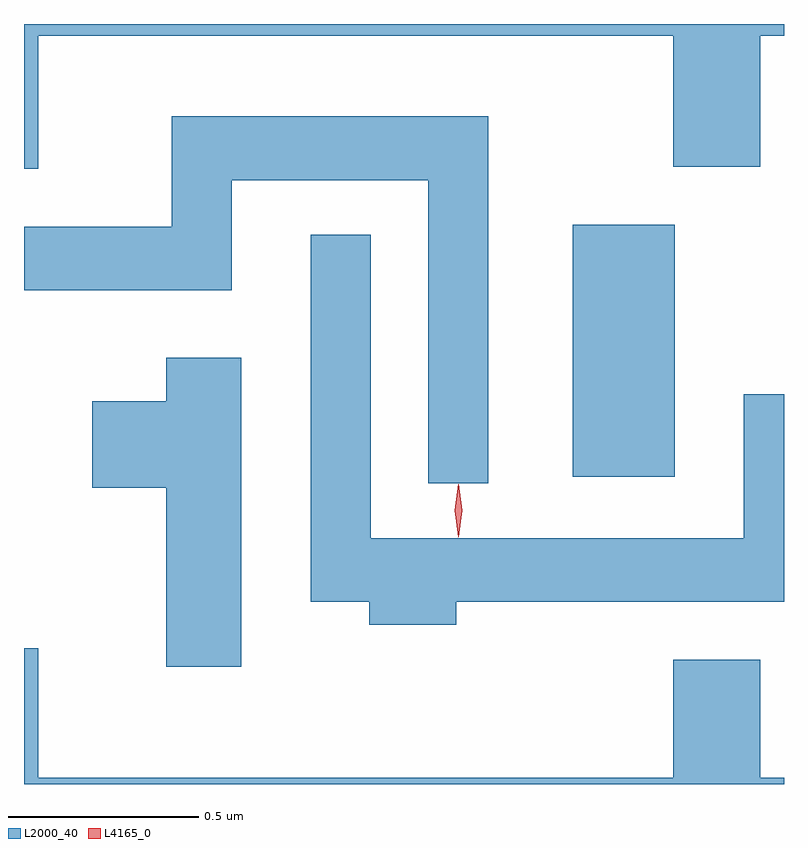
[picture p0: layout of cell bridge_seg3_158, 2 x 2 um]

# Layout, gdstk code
import gdstk
lib = gdstk.Library(unit=1e-6, precision=1e-09)
def R(c, l, rs):  # rectangles x0, y0, x1, y1
    for r in rs: c.add(gdstk.rectangle(r[:2], r[2:], *l))
def P(c, l, *ps):  # polygons
    for p in ps: c.add(gdstk.Polygon(p, *l))
L2000_40 = (2000, 40)
L4165_0 = (4165, 0)

bridge_seg3_158 = lib.new_cell('bridge_seg3_158')
R(bridge_seg3_158, L2000_40, [(877.926,1189.236,878.194,1189.899)])
P(bridge_seg3_158, L2000_40, [(876.482,1190.046),(876.519,1190.046),(876.519,1190.396),(878.191,1190.396),(878.191,1190.051),(878.419,1190.051),(878.419,1190.396),(878.482,1190.396),(878.482,1190.427),(876.482,1190.427)],
  [(877.704,1190.184),(876.871,1190.184),(876.871,1189.894),(876.482,1189.894),(876.482,1189.726),(877.029,1189.726),(877.029,1190.016),(877.546,1190.016),(877.546,1189.218),(877.704,1189.218)],
  [(877.619,1188.906),(878.482,1188.906),(878.482,1189.453),(878.376,1189.453),(878.376,1189.074),(877.394,1189.074),(877.394,1189.873),(877.236,1189.873),(877.236,1188.906),(877.391,1188.906),(877.391,1188.846),(877.619,1188.846)],
  [(877.054,1189.549),(876.856,1189.549),(876.856,1189.434),(876.661,1189.434),(876.661,1189.206),(876.856,1189.206),(876.856,1188.736),(877.054,1188.736)],
  [(878.482,1188.444),(878.419,1188.444),(878.419,1188.754),(878.191,1188.754),(878.191,1188.444),(876.519,1188.444),(876.519,1188.784),(876.482,1188.784),(876.482,1188.427),(878.482,1188.427)])
P(bridge_seg3_158, L4165_0, [(877.625,1189.077),(877.625,1189.078),(877.615,1189.147),(877.625,1189.216),(877.625,1189.216),(877.626,1189.216),(877.635,1189.147),(877.626,1189.078)],
  [(877.625,1189.079),(877.625,1189.08),(877.615,1189.146),(877.625,1189.212),(877.625,1189.213),(877.626,1189.212),(877.635,1189.146),(877.626,1189.08)])

lib.write_gds('bridge_seg3_158.gds')
